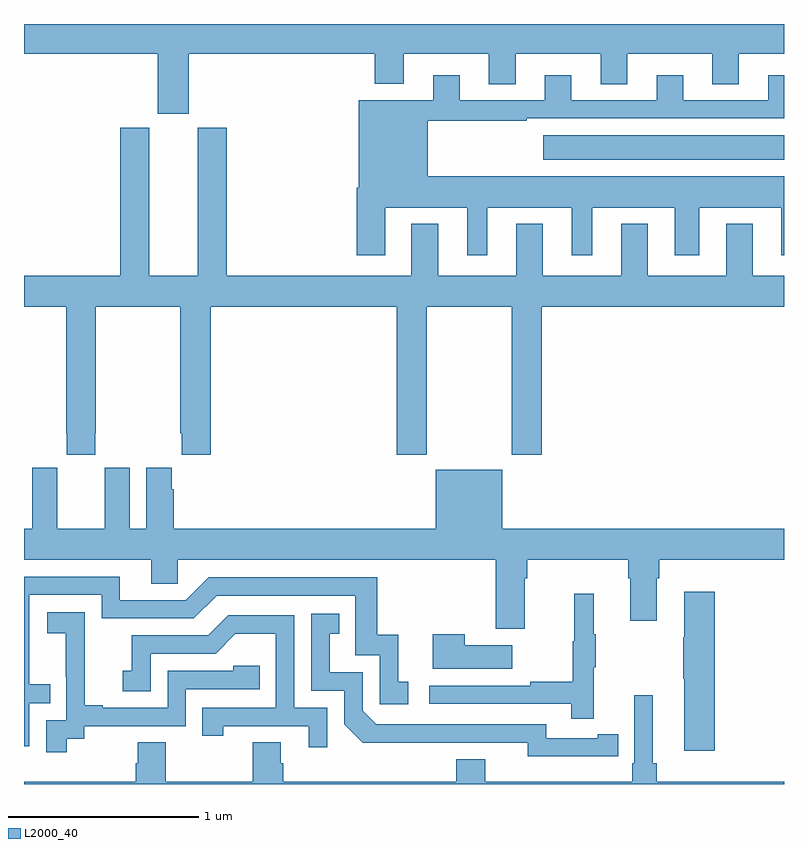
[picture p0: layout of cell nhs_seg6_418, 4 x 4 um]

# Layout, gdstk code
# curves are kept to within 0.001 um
import gdstk
lib = gdstk.Library(unit=1e-6, precision=1e-09)
def R(c, l, rs):  # rectangles x0, y0, x1, y1
    for r in rs: c.add(gdstk.rectangle(r[:2], r[2:], *l))
def P(c, l, *ps):  # polygons
    for p in ps: c.add(gdstk.Polygon(p, *l))
L2000_40 = (2000, 40)

nhs_seg6_418 = lib.new_cell('nhs_seg6_418')
R(nhs_seg6_418, L2000_40, [(137.733,938.786,139,938.914)])
P(nhs_seg6_418, L2000_40, [(135.868,939.344),(136.847,939.344),(136.847,939.185),(136.999,939.185),(136.999,939.344),(137.447,939.344),(137.447,939.184),(137.587,939.184),(137.587,939.344),(138.035,939.344),(138.035,939.184),(138.175,939.184),(138.175,939.344),(138.623,939.344),(138.623,939.184),(138.763,939.184),(138.763,939.344),(139,939.344),(139,939.5),(135,939.5),(135,939.344),(135.704,939.344),(135.704,939.027),(135.868,939.027)],
  [(136.9,938.534),(137.333,938.534),(137.333,938.283),(137.437,938.283),(137.437,938.534),(137.882,938.534),(137.882,938.283),(137.992,938.283),(137.992,938.534),(138.425,938.534),(138.425,938.283),(138.553,938.283),(138.553,938.534),(138.986,938.534),(138.986,938.283),(139,938.283),(139,938.698),(137.125,938.698),(137.125,938.991),(137.645,938.991),(137.645,939.003),(139,939.003),(139,939.229),(138.917,939.229),(138.917,939.099),(138.469,939.099),(138.469,939.229),(138.329,939.229),(138.329,939.099),(137.881,939.099),(137.881,939.229),(137.741,939.229),(137.741,939.099),(137.293,939.099),(137.293,939.229),(137.153,939.229),(137.153,939.1),(136.763,939.1),(136.763,938.638),(136.751,938.638),(136.751,938.283),(136.9,938.283)],
  [(137.039,938.176),(136.067,938.176),(136.067,938.955),(135.914,938.955),(135.914,938.176),(135.658,938.176),(135.658,938.955),(135.506,938.955),(135.506,938.176),(135,938.176),(135,938.012),(135.223,938.012),(135.223,937.345),(135.225,937.345),(135.225,937.233),(135.375,937.233),(135.375,937.345),(135.378,937.345),(135.378,938.012),(135.823,938.012),(135.823,937.345),(135.829,937.345),(135.829,937.233),(135.983,937.233),(135.983,938.012),(136.961,938.012),(136.961,937.233),(137.121,937.233),(137.121,938.012),(137.566,938.012),(137.566,937.233),(137.726,937.233),(137.726,938.012),(139,938.012),(139,938.176),(138.835,938.176),(138.835,938.449),(138.695,938.449),(138.695,938.176),(138.283,938.176),(138.283,938.449),(138.143,938.449),(138.143,938.176),(137.731,938.176),(137.731,938.449),(137.591,938.449),(137.591,938.176),(137.179,938.176),(137.179,938.449),(137.039,938.449)],
  [(137.635,936.584),(137.648,936.584),(137.648,936.68),(138.179,936.68),(138.179,936.584),(138.191,936.584),(138.191,936.36),(138.331,936.36),(138.331,936.584),(138.344,936.584),(138.344,936.68),(139,936.68),(139,936.844),(137.518,936.844),(137.518,937.153),(137.168,937.153),(137.168,936.844),(135.788,936.844),(135.788,937.052),(135.778,937.052),(135.778,937.165),(135.644,937.165),(135.644,936.844),(135.556,936.844),(135.556,937.165),(135.426,937.165),(135.426,937.052),(135.425,937.052),(135.425,936.844),(135.175,936.844),(135.175,937.052),(135.174,937.052),(135.174,937.165),(135.044,937.165),(135.044,936.844),(135,936.844),(135,936.68),(135.671,936.68),(135.671,936.553),(135.81,936.553),(135.81,936.68),(137.483,936.68),(137.483,936.318),(137.635,936.318)],
  [(135.027,935.925),(135.137,935.925),(135.137,936.026),(135.027,936.026),(135.027,936.495),(135.408,936.495),(135.408,936.372),(135.894,936.372),(136.014,936.492),(136.743,936.492),(136.743,936.177),(136.872,936.177),(136.872,935.919),(137.023,935.919),(137.023,936.039),(136.97,936.039),(136.97,936.286),(136.859,936.286),(136.859,936.588),(135.972,936.588),(135.852,936.468),(135.505,936.468),(135.505,936.591),(135,936.591),(135,935.7),(135.027,935.7)],
  [(138.635,936.511),(138.476,936.511),(138.476,936.272),(138.469,936.272),(138.469,936.055),(138.476,936.055),(138.476,935.676),(138.635,935.676)],
  [(137.999,936.115),(138.01,936.115),(138.01,936.289),(137.999,936.289),(137.999,936.502),(137.896,936.502),(137.896,936.252),(137.889,936.252),(137.889,936.038),(137.665,936.038),(137.665,936.018),(137.133,936.018),(137.133,935.922),(137.881,935.922),(137.881,935.844),(137.999,935.844)],
  [(135.226,935.737),(135.318,935.737),(135.318,935.805),(135.852,935.805),(135.852,936),(136.241,936),(136.241,936.123),(136.101,936.123),(136.101,936.096),(135.756,936.096),(135.756,935.901),(135.415,935.901),(135.415,935.914),(135.32,935.914),(135.32,936.197),(135.321,936.197),(135.321,936.403),(135.123,936.403),(135.123,936.293),(135.221,936.293),(135.221,936.065),(135.222,936.065),(135.222,935.835),(135.117,935.835),(135.117,935.667),(135.226,935.667)],
  [(138.02,935.646),(138.128,935.646),(138.128,935.762),(138.02,935.762),(138.02,935.742),(137.748,935.742),(137.748,935.814),(136.854,935.814),(136.782,935.886),(136.782,936.087),(136.609,936.087),(136.609,936.291),(136.658,936.291),(136.658,936.397),(136.512,936.397),(136.512,935.991),(136.686,935.991),(136.686,935.814),(136.784,935.717),(137.652,935.718),(137.652,935.645)],
  [(136.596,935.901),(136.422,935.901),(136.422,936.387),(136.076,936.387),(135.971,936.282),(135.568,936.282),(135.568,936.097),(135.519,936.097),(135.519,935.988),(135.666,935.988),(135.666,936.186),(136.008,936.186),(136.112,936.29),(136.326,936.29),(136.326,935.901),(135.937,935.901),(135.937,935.754),(136.048,935.754),(136.048,935.805),(136.499,935.805),(136.499,935.694),(136.596,935.694)],
  [(137.569,936.229),(137.321,936.229),(137.321,936.289),(137.15,936.289),(137.15,936.107),(137.569,936.107)],
  [(139,935.512),(138.329,935.512),(138.329,935.608),(138.31,935.608),(138.31,935.968),(138.213,935.968),(138.213,935.608),(138.2,935.608),(138.2,935.512),(137.428,935.512),(137.428,935.629),(137.276,935.629),(137.276,935.512),(136.364,935.512),(136.364,935.61),(136.351,935.61),(136.351,935.72),(136.204,935.72),(136.204,935.512),(135.747,935.512),(135.747,935.72),(135.599,935.72),(135.599,935.61),(135.587,935.61),(135.587,935.512),(135,935.512),(135,935.5),(139,935.5)])

lib.write_gds('nhs_seg6_418.gds')
